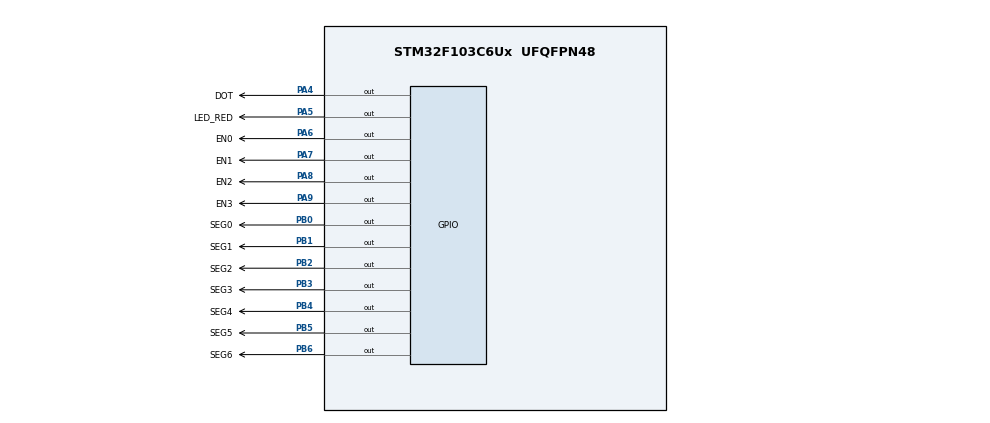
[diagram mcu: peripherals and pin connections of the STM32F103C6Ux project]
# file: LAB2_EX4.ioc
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Mcu.Family=STM32F1
Mcu.Name=STM32F103C6Ux
Mcu.Package=UFQFPN48
NVIC.PriorityGroup=NVIC_PRIORITYGROUP_4
NVIC.TIM2_IRQn=true\:0\:0\:false\:false\:true\:true\:true
PA4.GPIO_Label=DOT
PA4.Signal=GPIO_Output
PA5.GPIO_Label=LED_RED
PA5.Signal=GPIO_Output
PA6.GPIO_Label=EN0
PA6.Signal=GPIO_Output
PA7.GPIO_Label=EN1
PA7.Signal=GPIO_Output
PA8.GPIO_Label=EN2
PA8.Signal=GPIO_Output
PA9.GPIO_Label=EN3
PA9.Signal=GPIO_Output
PB0.GPIO_Label=SEG0
PB0.Signal=GPIO_Output
PB1.GPIO_Label=SEG1
PB1.Signal=GPIO_Output
PB2.GPIO_Label=SEG2
PB2.Signal=GPIO_Output
PB3.GPIO_Label=SEG3
PB3.Signal=GPIO_Output
PB4.GPIO_Label=SEG4
PB4.Signal=GPIO_Output
PB5.GPIO_Label=SEG5
PB5.Signal=GPIO_Output
PB6.GPIO_Label=SEG6
PB6.Signal=GPIO_Output
ProjectManager.HeapSize=0x200
ProjectManager.StackSize=0x400
ProjectManager.TargetToolchain=STM32CubeIDE
RCC.APB1Freq_Value=8000000
RCC.APB2Freq_Value=8000000
TIM2.Period=9
TIM2.Prescaler=7999
VP_SYS_VS_ND.Mode=No_Debug
VP_TIM2_VS_ClockSourceINT.Mode=Internal
board=custom

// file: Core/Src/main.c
/* USER CODE BEGIN Header */
/**
  ******************************************************************************
  * @file           : main.c
  * @brief          : Main program body
  ******************************************************************************
  * @attention
  *
  * <h2><center>&copy; Copyright (c) 2024 STMicroelectronics.
  * All rights reserved.</center></h2>
  *
  * This software component is licensed by ST under BSD 3-Clause license,
  * the "License"; You may not use this file except in compliance with the
  * License. You may obtain a copy of the License at:
  *                        opensource.org/licenses/BSD-3-Clause
  *
  ******************************************************************************
  */
/* USER CODE END Header */
#include "main.h"

/* USER CODE BEGIN Includes */
#include "Ex4.h"
/* USER CODE END Includes */

TIM_HandleTypeDef htim2;

void SystemClock_Config(void);
static void MX_GPIO_Init(void);
static void MX_TIM2_Init(void);

int main(void)
{

  /* MCU Configuration--------------------------------------------------------*/

  /* Reset of all peripherals, Initializes the Flash interface and the Systick. */
  HAL_Init();

  /* Configure the system clock */
  SystemClock_Config();

  /* Initialize all configured peripherals */
  MX_GPIO_Init();
  MX_TIM2_Init();
  /* USER CODE BEGIN 2 */
  HAL_TIM_Base_Start_IT (& htim2 ) ;
  /* USER CODE END 2 */

  /* Infinite loop */
  while (1)
  {

  }
}

void SystemClock_Config(void)
{
  RCC_OscInitTypeDef RCC_OscInitStruct = {0};
  RCC_ClkInitTypeDef RCC_ClkInitStruct = {0};

  /** Initializes the RCC Oscillators according to the specified parameters
  * in the RCC_OscInitTypeDef structure.
  */
  RCC_OscInitStruct.OscillatorType = RCC_OSCILLATORTYPE_HSI;
  RCC_OscInitStruct.HSIState = RCC_HSI_ON;
  RCC_OscInitStruct.HSICalibrationValue = RCC_HSICALIBRATION_DEFAULT;
  RCC_OscInitStruct.PLL.PLLState = RCC_PLL_NONE;
  if (HAL_RCC_OscConfig(&RCC_OscInitStruct) != HAL_OK)
  {
    Error_Handler();
  }
  /** Initializes the CPU, AHB and APB buses clocks
  */
  RCC_ClkInitStruct.ClockType = RCC_CLOCKTYPE_HCLK|RCC_CLOCKTYPE_SYSCLK
                              |RCC_CLOCKTYPE_PCLK1|RCC_CLOCKTYPE_PCLK2;
  RCC_ClkInitStruct.SYSCLKSource = RCC_SYSCLKSOURCE_HSI;
  RCC_ClkInitStruct.AHBCLKDivider = RCC_SYSCLK_DIV1;
  RCC_ClkInitStruct.APB1CLKDivider = RCC_HCLK_DIV1;
  RCC_ClkInitStruct.APB2CLKDivider = RCC_HCLK_DIV1;

  if (HAL_RCC_ClockConfig(&RCC_ClkInitStruct, FLASH_LATENCY_0) != HAL_OK)
  {
    Error_Handler();
  }
}

static void MX_TIM2_Init(void)
{

  TIM_ClockConfigTypeDef sClockSourceConfig = {0};
  TIM_MasterConfigTypeDef sMasterConfig = {0};

  htim2.Instance = TIM2;
  htim2.Init.Prescaler = 7999;
  htim2.Init.CounterMode = TIM_COUNTERMODE_UP;
  htim2.Init.Period = 9;
  htim2.Init.ClockDivision = TIM_CLOCKDIVISION_DIV1;
  htim2.Init.AutoReloadPreload = TIM_AUTORELOAD_PRELOAD_DISABLE;
  if (HAL_TIM_Base_Init(&htim2) != HAL_OK)
  {
    Error_Handler();
  }
  sClockSourceConfig.ClockSource = TIM_CLOCKSOURCE_INTERNAL;
  if (HAL_TIM_ConfigClockSource(&htim2, &sClockSourceConfig) != HAL_OK)
  {
    Error_Handler();
  }
  sMasterConfig.MasterOutputTrigger = TIM_TRGO_RESET;
  sMasterConfig.MasterSlaveMode = TIM_MASTERSLAVEMODE_DISABLE;
  if (HAL_TIMEx_MasterConfigSynchronization(&htim2, &sMasterConfig) != HAL_OK)
  {
    Error_Handler();
  }

}

static void MX_GPIO_Init(void)
{
  GPIO_InitTypeDef GPIO_InitStruct = {0};

  /* GPIO Ports Clock Enable */
  __HAL_RCC_GPIOA_CLK_ENABLE();
  __HAL_RCC_GPIOB_CLK_ENABLE();

  /*Configure GPIO pin Output Level */
  HAL_GPIO_WritePin(GPIOA, DOT_Pin|LED_RED_Pin|EN0_Pin|EN1_Pin
                          |EN2_Pin|EN3_Pin, GPIO_PIN_RESET);

  /*Configure GPIO pin Output Level */
  HAL_GPIO_WritePin(GPIOB, SEG0_Pin|SEG1_Pin|SEG2_Pin|SEG3_Pin
                          |SEG4_Pin|SEG5_Pin|SEG6_Pin, GPIO_PIN_RESET);

  /*Configure GPIO pins : DOT_Pin LED_RED_Pin EN0_Pin EN1_Pin
                           EN2_Pin EN3_Pin */
  GPIO_InitStruct.Pin = DOT_Pin|LED_RED_Pin|EN0_Pin|EN1_Pin
                          |EN2_Pin|EN3_Pin;
  GPIO_InitStruct.Mode = GPIO_MODE_OUTPUT_PP;
  GPIO_InitStruct.Pull = GPIO_NOPULL;
  GPIO_InitStruct.Speed = GPIO_SPEED_FREQ_LOW;
  HAL_GPIO_Init(GPIOA, &GPIO_InitStruct);

  /*Configure GPIO pins : SEG0_Pin SEG1_Pin SEG2_Pin SEG3_Pin
                           SEG4_Pin SEG5_Pin SEG6_Pin */
  GPIO_InitStruct.Pin = SEG0_Pin|SEG1_Pin|SEG2_Pin|SEG3_Pin
                          |SEG4_Pin|SEG5_Pin|SEG6_Pin;
  GPIO_InitStruct.Mode = GPIO_MODE_OUTPUT_PP;
  GPIO_InitStruct.Pull = GPIO_NOPULL;
  GPIO_InitStruct.Speed = GPIO_SPEED_FREQ_LOW;
  HAL_GPIO_Init(GPIOB, &GPIO_InitStruct);

}

/* USER CODE BEGIN 4 */
int counter = 25;
int index_led = 0;
const int MAX_LED = 4;
int counter_led = 100;
void HAL_TIM_PeriodElapsedCallback ( TIM_HandleTypeDef * htim ){
	counter_led--;
	if (counter_led <= 0){
		counter_led = 100;
		HAL_GPIO_TogglePin(LED_RED_GPIO_Port, LED_RED_Pin);
		HAL_GPIO_TogglePin(DOT_GPIO_Port, DOT_Pin);
	}
	counter--;
	if (!(index_led < MAX_LED)) index_led = 0;
	if (counter <= 0){
		counter = 25;
		update7SEG(index_led++);
	}
}
/* USER CODE END 4 */

void Error_Handler(void)
{
  __disable_irq();
  while (1)
  {
  }
}

/************************ (C) COPYRIGHT STMicroelectronics *****END OF FILE****/
